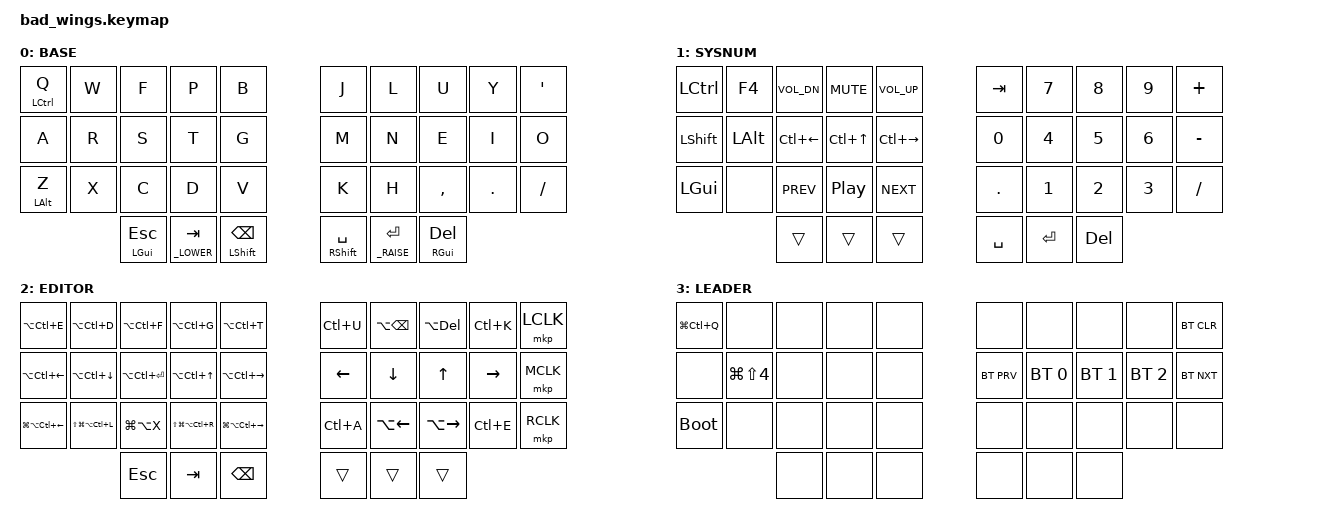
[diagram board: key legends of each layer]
/*
 * Copyright (c) 2022 The ZMK Contributors
 *
 * SPDX-License-Identifier: MIT
 */

#include <behaviors.dtsi>
#include <dt-bindings/zmk/keys.h>
#include <dt-bindings/zmk/bt.h>
#include <dt-bindings/zmk/outputs.h>
#include <dt-bindings/zmk/mouse.h>

// define layers
#define _DEFAULT 0  // Colemak Dhm
#define _LOWER 1
#define _RAISE 2
#define _STICKY 3

// configure hold tap settings
&lt {
    flavor = "hold-preferred";
};

&mt {
    tapping-term-ms = <150>;  // slightly faster to reduce wait before cmd click
};

&sl {
    release-after-ms = <500>;  // basically leader timeout equivalent
};

// new behaviors for shift tap and mod on alphas
// lmt: https://zmk.dev/docs/behaviors/hold-tap#example-use-cases based on toggle on tap, momentary on hold layers
/ {
    behaviors {
        st: shift_tap {
            compatible = "zmk,behavior-hold-tap";
            label = "SHIFT_TAP";
            #binding-cells = <2>;
            flavor = "tap-preferred";
            tapping-term-ms = <120>;
            bindings = <&kp>, <&kp>;
        };
        am: alpha_mod {
            compatible = "zmk,behavior-hold-tap";
            label = "ALPHA_MOD";
            #binding-cells = <2>;
            flavor = "balanced";
            tapping-term-ms = <150>;
            bindings = <&kp>, <&kp>;
            retro-tap;
        };
        lmt: layer_mo_to {
            compatible = "zmk,behavior-hold-tap";
            label = "l_mo_to";
            #binding-cells = <2>;
            flavor = "hold-preferred";
            tapping-term-ms = <200>;
            bindings = <&mo>, <&to>;
        };
    };
};

// Combos
// TODO: pull this into a separate import as in https://github.com/AlaaSaadAbdo/zmk-config

#define COMBO_TERM 25

/* Key index
 0  1  2  3  4         5  6  7  8  9
10 11 12 13 14        15 16 17 18 19
20 21 22 23 24        25 26 27 28 29
        30 31 32    33 34 35         */

/ {
    combos {
        compatible = "zmk,combos";
        combo_grave {
            timeout-ms = <COMBO_TERM>;
            key-positions = <0 1>;
            bindings = <&kp GRAVE>;
        };
        combo_rbkt {
            timeout-ms = <COMBO_TERM>;
            key-positions = <1 2>;
            bindings = <&kp RBKT>;
        };
        combo_lbkt {
            timeout-ms = <COMBO_TERM>;
            key-positions = <2 3>;
            bindings = <&kp LBKT>;
        };
        combo_tilde {
            timeout-ms = <COMBO_TERM>;
            key-positions = <10 11>;
            bindings = <&kp TILDE>;
        };
        combo_rpar {
            timeout-ms = <COMBO_TERM>;
            key-positions = <11 12>;
            bindings = <&kp RPAR>;
        };
        combo_lpar {
            timeout-ms = <COMBO_TERM>;
            key-positions = <12 13>;
            bindings = <&kp LPAR>;
        };
        combo_leader {
            timeout-ms = <COMBO_TERM>;
            key-positions = <20 21>;
            bindings = <&sl _STICKY>;
        };
        combo_rbrc {
            timeout-ms = <COMBO_TERM>;
            key-positions = <21 22>;
            bindings = <&kp RBRC>;
        };
        combo_lbrc {
            timeout-ms = <COMBO_TERM>;
            key-positions = <22 23>;
            bindings = <&kp LBRC>;
        };

        combo_equal {
            timeout-ms = <COMBO_TERM>;
            key-positions = <6 7>;
            bindings = <&kp EQUAL>;
        };
        combo_plus {
            timeout-ms = <COMBO_TERM>;
            key-positions = <7 8>;
            bindings = <&kp PLUS>;
        };
        combo_semi {
            timeout-ms = <COMBO_TERM>;
            key-positions = <8 9>;
            bindings = <&kp SEMI>;
        };
        combo_minus {
            timeout-ms = <COMBO_TERM>;
            key-positions = <16 17>;
            bindings = <&kp MINUS>;
        };
        combo_under {
            timeout-ms = <COMBO_TERM>;
            key-positions = <17 18>;
            bindings = <&kp UNDER>;
        };
        combo_colon {
            timeout-ms = <COMBO_TERM>;
            key-positions = <18 19>;
            bindings = <&kp COLON>;
        };
        combo_bslh {
            timeout-ms = <COMBO_TERM>;
            key-positions = <26 27>;
            bindings = <&kp BSLH>;
        };
        combo_pipe {
            timeout-ms = <COMBO_TERM>;
            key-positions = <27 28>;
            bindings = <&kp PIPE>;
        };
        combo_cmdpal {
            timeout-ms = <COMBO_TERM>;
            key-positions = <28 29>;
            bindings = <&kp LG(LS(P))>;
        };
    };
};

// define frequently used keyboard shortcuts

// OS stuff
#define EXPOSE  LC(UP)      // mission control (aka expose)
#define OS_LOCK LG(LC(Q))   // lock screen
#define SNIP    LG(LS(N4))  // screenshot portion of screen

// text editing: cursor movement, text deletion
#define MWL LA(LEFT)   // move cursor one word left
#define MWR LA(RIGHT)  // move cursor one word right
#define MLL LC(A)      // move cursor to beginning of line
#define MLR LC(E)      // move cursor to end of line
#define DWL LA(BSPC)   // delete one word left
#define DWR LA(DEL)    // delete one word right
#define DLL LC(U)      // delete to beginning of line
#define DLR LC(K)      // delete to end of line

// window management (OS native)
#define WK_L LC(LEFT)  // go to workspace left
#define WK_R LC(RIGHT) // go to workspace right

// window management (via rectangle)
#define SZ_L_13 LA(LC(D))      // resize window left 1/3
#define SZ_C_13 LA(LC(F))      // resize window center 1/3
#define SZ_R_13 LA(LC(G))      // resize window right 1/3
#define SZ_L_23 LA(LC(E))      // resize window left 2/3
#define SZ_R_23 LA(LC(T))      // resize window right 2/3
#define SZ_L_12 LA(LC(LEFT))   // resize window left 1/2
#define SZ_R_12 LA(LC(RIGHT))  // resize window right 1/2
#define SZ_U_12 LA(LC(UP))     // resize window up 1/2
#define SZ_D_12 LA(LC(DOWN))   // resize window down 1/2
#define SZ_MAX  LA(LC(ENTER))  // resize window maximize
#define THRW_L LG(LA(LC(LEFT)))   // throw to workspace left
#define THRW_R LG(LA(LC(RIGHT)))  // throw to workspace right

// cursor warp (via hammerspoon)
#define FCS_L LS(LG(LA(LC(L))))  // warp cursor to display left
#define FCS_R LS(LG(LA(LC(R))))  // warp cursor to display right

// cursor warp (via warpd)
#define WARPD LG(LA(X))  // hint mode

// deprecated categories (mostly hammerspoon stuff):
    // hammerspoon: alerts, emoji finder, quick app shortcuts

/ {
    keymap {
        compatible = "zmk,keymap";

        default_layer {
            label = "BASE";
// -----------------------------------------------------------------------------------------
//      |  Q  |  W  |  F  |  P  |  B  |            |  J  |  L  |  U  |  Y  |  '  |
//      |  A  |  R  |  S  |  T  |  G  |            |  M  |  N  |  E  |  I  |  O  |
//      |  Z  |  X  |  C  |  D  |  V  |            |  K  |  H  |  ,  |  .  |  /  |
//           taps   | ESC | TAB | BSP |            | SPC | ENT | DEL |
//           holds  | GUI | LWR | SFT |            | SFT | RSE | GUI |
            bindings = <
    &am LCTRL Q &kp W &kp F &kp P &kp B             &kp J &kp L  &kp U     &kp Y   &kp APOS
    &kp A       &kp R &kp S &kp T &kp G             &kp M &kp N  &kp E     &kp I   &kp O
    &am LALT Z  &kp X &kp C &kp D &kp V             &kp K &kp H  &kp COMMA &kp DOT &kp FSLH
    &mt LGUI ESC &lt _LOWER TAB &st LSHIFT BSPC     &st RSHIFT SPACE &lt _RAISE ENTER &mt RGUI DEL
            >;
        };

        lower_layer {
            label = "SYSNUM";
            bindings = <
   &kp LCTRL  &kp F4   &kp C_VOL_DN  &kp K_MUTE  &kp C_VOL_UP     &kp TAB  &kp N7  &kp N8  &kp N9  &kp PLUS
   &kp LSHIFT &kp LALT &kp WK_L      &kp EXPOSE  &kp WK_R         &kp N0   &kp N4  &kp N5  &kp N6  &kp MINUS 
   &kp LGUI   &none    &kp C_PREV    &kp C_PP    &kp C_NEXT       &kp DOT  &kp N1  &kp N2  &kp N3  &kp FSLH
                                &trans  &trans  &trans                &kp SPACE  &kp ENTER &kp DEL
            >;
        };

        raise_layer {
            label = "EDITOR";
            bindings = <
   &kp SZ_L_23 &kp SZ_L_13 &kp SZ_C_13 &kp SZ_R_13 &kp SZ_R_23      &kp DLL  &kp DWL  &kp DWR &kp DLR   &mkp LCLK
   &kp SZ_L_12 &kp SZ_D_12 &kp SZ_MAX  &kp SZ_U_12 &kp SZ_R_12      &kp LEFT &kp DOWN &kp UP  &kp RIGHT &mkp MCLK
   &kp THRW_L  &kp FCS_L   &kp WARPD   &kp FCS_R   &kp THRW_R       &kp MLL  &kp MWL  &kp MWR &kp MLR   &mkp RCLK
                    	     &kp ESC &kp TAB  &kp BSPC   &trans   &trans    &trans
            >;
        };

        sticky_layer {
            label = "LEADER";
            bindings = <
    &kp OS_LOCK  &none     &none  &none  &none      &none  &none  &none  &none  &bt BT_CLR
    &none        &kp SNIP  &none  &none  &none      &bt BT_PRV &bt BT_SEL 0 &bt BT_SEL 1 &bt BT_SEL 2 &bt BT_NXT
    &bootloader  &none     &none  &none  &none      &none  &none  &none  &none  &none
                           &none  &none  &none      &none  &none  &none
            >;
        };
    };
};
